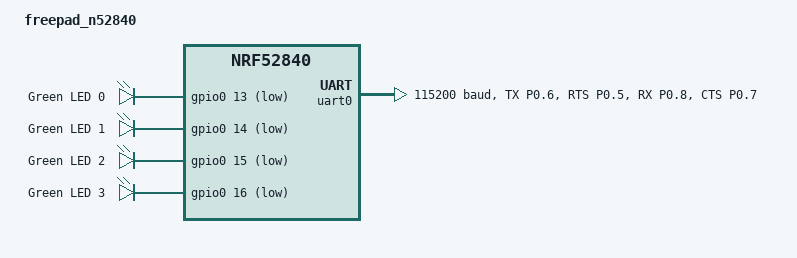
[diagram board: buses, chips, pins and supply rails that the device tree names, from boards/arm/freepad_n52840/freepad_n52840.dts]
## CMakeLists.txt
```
cmake_minimum_required(VERSION 3.20.0)
find_package(Zephyr REQUIRED HINTS $ENV{ZEPHYR_BASE})

project(freepad)
include(${ZEPHYR_BASE}/samples/subsys/usb/common/common.cmake)

FILE(GLOB app_sources src/*.c)
target_sources(app PRIVATE ${app_sources})
```

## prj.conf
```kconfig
CONFIG_CONSOLE_SUBSYS=y
CONFIG_CONSOLE_GETCHAR=y
CONFIG_CONSOLE_GETCHAR_BUFSIZE=64
CONFIG_CONSOLE_PUTCHAR_BUFSIZE=512

CONFIG_GPIO=y
CONFIG_SERIAL=y
CONFIG_CONSOLE=y
CONFIG_UART_CONSOLE=y


CONFIG_THREAD_NAME=y
CONFIG_THREAD_MAX_NAME_LEN=20

# use app patition
CONFIG_USE_DT_CODE_PARTITION=y
```

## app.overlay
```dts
// To get started, press Ctrl+Space to bring up the completion menu and view the available nodes.

// You can also use the buttons in the sidebar to perform actions on nodes.
// Actions currently available include:

// * Enabling / disabling the node
// * Adding the bus to a bus
// * Removing the node
// * Connecting ADC channels

// For more help, browse the DeviceTree documentation at https://docs.zephyrproject.org/latest/guides/dts/index.html
// You can also visit the nRF DeviceTree extension documentation at https://docs.nordicsemi.com/bundle/nrf-connect-vscode/page/guides/ncs_configure_app.html#devicetree-support-in-the-extension


&usbd {
	// status = "okay";
};

/{
    chosen{
		zephyr,console = &uart0;
        zephyr,code-partition = &app_partition;
    };
};
```

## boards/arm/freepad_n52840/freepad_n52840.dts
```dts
// Copyright (c) 2024 Nordic Semiconductor ASA
// SPDX-License-Identifier: Apache-2.0

/dts-v1/;
#include <nordic/nrf52840_qiaa.dtsi>

/ {
	model = "freepad_n52840";
	compatible = "lyj,freepad-n52840";

	chosen {
		zephyr,sram = &sram0;
		zephyr,flash = &flash0;
	};

	leds {
		compatible = "gpio-leds";
		led0: led_0 {
			gpios = <&gpio0 13 GPIO_ACTIVE_LOW>;
			label = "Green LED 0";
		};
		led1: led_1 {
			gpios = <&gpio0 14 GPIO_ACTIVE_LOW>;
			label = "Green LED 1";
		};
		led2: led_2 {
			gpios = <&gpio0 15 GPIO_ACTIVE_LOW>;
			label = "Green LED 2";
		};
		led3: led_3 {
			gpios = <&gpio0 16 GPIO_ACTIVE_LOW>;
			label = "Green LED 3";
		};
	};


	aliases {
		led0 = &led0;
	};
};


&flash0 {
	partitions {
		compatible = "fixed-partitions";
		#address-cells = <1>;
		#size-cells = <1>;

		boot_partition: partition@0 {
			label = "lboot";
			reg = <0x0 0x28000>;
		};
		app_partition: partition@28000 {
			label = "image-0";
			reg = <0x28000 0x4b000>;
		};
		storage_partition: partition@73000 {
			label = "storage";
			reg = <0x73000 0xD000>;
		};
	};
};

&gpio0 {
	status = "okay";
};

&gpiote {
	status = "okay";
};


&pinctrl {
	uart0_default: uart0_default {
		group1 {
			psels = <NRF_PSEL(UART_TX, 0, 6)>,
				<NRF_PSEL(UART_RTS, 0, 5)>;
		};
		group2 {
			psels = <NRF_PSEL(UART_RX, 0, 8)>,
				<NRF_PSEL(UART_CTS, 0, 7)>;
			bias-pull-up;
		};
	};

	uart0_sleep: uart0_sleep {
		group1 {
			psels = <NRF_PSEL(UART_TX, 0, 6)>,
				<NRF_PSEL(UART_RX, 0, 8)>,
				<NRF_PSEL(UART_RTS, 0, 5)>,
				<NRF_PSEL(UART_CTS, 0, 7)>;
			low-power-enable;
		};
	};
};

&uart0 {
	compatible = "nordic,nrf-uarte";
	status = "okay";
	current-speed = <115200>;
	pinctrl-0 = <&uart0_default>;
	pinctrl-1 = <&uart0_sleep>;
	pinctrl-names = "default", "sleep";
};
```

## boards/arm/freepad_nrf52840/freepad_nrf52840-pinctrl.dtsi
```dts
/*
 * Copyright (c) 2022 Nordic Semiconductor
 * SPDX-License-Identifier: Apache-2.0
 */

&pinctrl {
	uart0_default: uart0_default {
		group1 {
			psels = <NRF_PSEL(UART_TX, 1, 10)>,
					<NRF_PSEL(UART_RX, 1, 11)>;
		};
	};

	uart0_sleep: uart0_sleep {
		group1 {
			psels = <NRF_PSEL(UART_TX, 1, 10)>,
					<NRF_PSEL(UART_RX, 1, 11)>;
			low-power-enable;
		};
	};


	pwm0_default: pwm0_default {
		group1 {
			psels = <NRF_PSEL(PWM_OUT0, 0, 6)>;
			nordic,invert;
		};
	};

	pwm0_sleep: pwm0_sleep {
		group1 {
			psels = <NRF_PSEL(PWM_OUT0, 0, 6)>;
			low-power-enable;
		};
	};
};
```

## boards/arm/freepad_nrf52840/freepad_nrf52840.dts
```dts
/*
 * Copyright (c) 2022 Nikola Trifunovic
 * Copyright (c) 2018 Nordic Semiconductor ASA
 * Copyright (c) 2017 Linaro Limited
 *
 * SPDX-License-Identifier: Apache-2.0
 */

/dts-v1/;
#include <nordic/nrf52840_qiaa.dtsi>
#include "freepad_nrf52840-pinctrl.dtsi"

/ {
	model = "freepad nRF52840";
	compatible = "freepad_nrf52840";

	chosen {
		zephyr,console = &uart0;
		zephyr,shell-uart = &uart0;
		zephyr,uart-mcumgr = &uart0;
		zephyr,bt-mon-uart = &uart0;
		zephyr,bt-c2h-uart = &uart0;
		zephyr,sram = &sram0;
		zephyr,flash = &flash0;
		zephyr,code-partition = &slot0_partition;
		zephyr,ieee802154 = &ieee802154;
	};

	buttons {
		compatible = "gpio-keys";
		func_button {
			gpios = <&gpio1 6 (GPIO_PULL_UP | GPIO_ACTIVE_LOW)>;
			label = "dfu unpair button";
		};
	};

	pwmleds {
		compatible = "pwm-leds";
		pwm_led0: pwm_led_0 {
			pwms = <&pwm0 0 PWM_MSEC(20) PWM_POLARITY_INVERTED>;
		};
	};

	/* These aliases are provided for compatibility with samples */
	aliases {
		watchdog0 = &wdt0;
		pwm-led0 = &pwm_led0;
	};
};

&gpiote {
	status = "okay";
};

&gpio0 {
	status = "okay";
};

&gpio1 {
	status = "okay";
};

&uart0 {
	compatible = "nordic,nrf-uarte";
	status = "okay";
	current-speed = <115200>;
	pinctrl-0 = <&uart0_default>;
	pinctrl-1 = <&uart0_sleep>;
	pinctrl-names = "default", "sleep";
};

&pwm0 {
	status = "okay";
	pinctrl-0 = <&pwm0_default>;
	pinctrl-1 = <&pwm0_sleep>;
	pinctrl-names = "default", "sleep";
};

&ieee802154 {
	status = "okay";
};

/* Include flash partition table.
 * Two partition tables are available:
 * fstab-stock		-compatible with Nordic nRF5 bootloader, default
 * fstab-debugger	-to use an external debugger, w/o the nRF5 bootloader
 */
#include "fstab-stock.dts"

zephyr_udc0: &usbd {
	compatible = "nordic,nrf-usbd";
	status = "okay";
};
```

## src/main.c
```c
#include <zephyr/kernel.h>
#include <zephyr/drivers/gpio.h>


#define LED0_NODE DT_ALIAS(led0)
static const struct gpio_dt_spec led = GPIO_DT_SPEC_GET(LED0_NODE, gpios);

void blink(void)
{
	int ret;

	if (!gpio_is_ready_dt(&led))
	{
		return;
	}

	ret = gpio_pin_configure_dt(&led, GPIO_OUTPUT_ACTIVE);
	if (ret < 0)
	{
		return ;
	}

	while (1)
	{
		ret = gpio_pin_toggle_dt(&led);
		if (ret < 0)
		{
			return ;
		}

		k_msleep(200);
		printk("blink");
	}
	return ;
}


#define STACKSIZE 1024
K_THREAD_DEFINE(blink_id, STACKSIZE, blink, NULL, NULL, NULL,
				1, 0, 0);
```

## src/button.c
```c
#include "button.h"

#include <zephyr/kernel.h>
#include <zephyr/sys/printk.h>
#include "systime.h"

#include <zephyr/types.h>
#include <stddef.h>
#include <string.h>
#include <errno.h>

#include <zephyr/device.h>
#include <zephyr/drivers/gpio.h>

typedef struct
{
    ButtonStatus_t status;
    uint32_t downTime;
    uint32_t upTime;
} ButtonContext_t;

static const struct gpio_dt_spec buttons[ButtonEnum_Max] = {
    [ButtonEnum_Func] = GPIO_DT_SPEC_GET_OR(DT_PATH(buttons, func_button), gpios, {0}),
};

static ButtonContext_t buttonContext[ButtonEnum_Max];

void Button_Init(void)
{
    for (int i = 0; i < ButtonEnum_Max; i++)
    {
        if (!gpio_is_ready_dt(&buttons[i]))
        {
            printk("Error: button device %s is not ready\n",
                   buttons[i].port->name);
            return;
        }

        int ret = gpio_pin_configure_dt(&buttons[i], GPIO_INPUT);
        if (ret != 0)
        {
            printk("Error %d: failed to configure %s pin %d\n",
                   ret, buttons[i].port->name, buttons[i].pin);
            return;
        }
    }

    memset(buttonContext, 0, sizeof(buttonContext));
}

void Button_Check(uint32_t interval)
{
    for (int i = 0; i < ButtonEnum_Max; i++)
    {
        if (!gpio_pin_get_dt(&buttons[i]))
        {
            buttonContext[i].upTime += interval;
            buttonContext[i].downTime = 0;

            if (buttonContext[i].upTime >= 20)
            {
                // if (buttonContext[i].status == ButtonSta_Press)
                //     printk("button: %d release\r\n", i);

                buttonContext[i].status = ButtonSta_Realse;
            }
            // printk("button: %d high\r\n", i);
        }
        else
        {
            buttonContext[i].upTime = 0;
            buttonContext[i].downTime += interval;

            if (buttonContext[i].downTime >= 20)
            {
                // if (buttonContext[i].status == ButtonSta_Realse)
                //     printk("button: %d press\r\n", i);
                    
                buttonContext[i].status = ButtonSta_Press;
            }
            // printk("button: %d low\r\n", i);
        }
    }
}

ButtonStatus_t Button_GetStatus(ButtonEnum_t btn)
{
    return buttonContext[btn].status;
}
```

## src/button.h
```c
#pragma once

#include "stdint.h"
typedef enum
{
    ButtonSta_Realse = 0,
    ButtonSta_Press,
} ButtonStatus_t;

typedef enum
{
    ButtonEnum_Func = 0,
    ButtonEnum_Max,
}  ButtonEnum_t;

void Button_Init(void);
void Button_Check(uint32_t interval);

ButtonStatus_t Button_GetStatus(ButtonEnum_t btn);
```

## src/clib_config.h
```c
#pragma once

#include "cl_common.h"
#include "stdio.h"

#ifdef __cplusplus
extern "C" {
#endif

//-------------event type------------------
typedef enum
{
    CL_Event_0,
    CL_EventMax,
} CL_Event_t;

//---------------log-------------------------
#include "stdio.h"
// #define USE_LDB_LOG
#define CL_PRINTF   printf

#ifdef __cplusplus
}
#endif
```

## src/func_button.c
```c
#include "func_button.h"
#include "button.h"
#include "systime.h"
#include <zephyr/sys/reboot.h>
#include "ble_agent.h"

extern void MainSetTask(uint8_t c);

static ButtonStatus_t funcBtnSta = ButtonSta_Realse;
static uint32_t staKeepTime = 0;

void FuncButton_Init(void)
{
}

void FuncButton_Update(uint32_t interval)
{
    ButtonStatus_t curSta = Button_GetStatus(ButtonEnum_Func);
    if (curSta != funcBtnSta)
    {
        if (funcBtnSta == ButtonSta_Realse)
        { // button down
        }
        else if (funcBtnSta == ButtonSta_Press)
        { // button up
            if (staKeepTime < SYSTIME_SECOND(5))
                MainSetTask('u');
        }
        staKeepTime = 0;
        funcBtnSta = curSta;
    }
    else
    {

        if (funcBtnSta == ButtonSta_Press)
        {
            if (staKeepTime < SYSTIME_SECOND(5) && (staKeepTime + interval >= SYSTIME_SECOND(5)))
            {
                MainSetTask('r');
            }
        }
        staKeepTime += interval;
    }
}
```

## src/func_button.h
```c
#pragma once

#include "stdint.h"

void FuncButton_Init(void);
void FuncButton_Update(uint32_t interval);
```

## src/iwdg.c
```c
#include <zephyr/kernel.h>
#include <zephyr/device.h>
#include <zephyr/drivers/watchdog.h>
#include <zephyr/sys/printk.h>
#include <stdbool.h>
#include "systime.h"

volatile static bool initialized = false;

static bool feed = true;
static int wdt_channel_id;
const static struct device *const wdt = DEVICE_DT_GET(DT_ALIAS(watchdog0));
void IwdgInit(void)
{
    int err;
    if (!device_is_ready(wdt))
    {
        printk("%s: device not ready.\n", wdt->name);
        return;
    }

    struct wdt_timeout_cfg wdt_config = {
        /* Reset SoC when watchdog timer expires. */
        .flags = WDT_FLAG_RESET_SOC,

        /* Expire watchdog after max window */
        .window.min = 0,
        .window.max = 3500,
        .callback = NULL,
    };

    wdt_channel_id = wdt_install_timeout(wdt, &wdt_config);
    if (wdt_channel_id < 0)
    {
        printk("Watchdog install error\n");
        return;
    }

    err = wdt_setup(wdt, WDT_OPT_PAUSE_HALTED_BY_DBG);
    if (err < 0)
    {
        printk("Watchdog setup error\n");
        return;
    }

    initialized = true;
}

void IwdgProcess(void)
{
    if (!initialized)
        return;

    static uint32_t lastTime = 0;
    if (SysTimeSpan(lastTime) >= 1000)
    {
        lastTime = GetSysTime();
        if (feed)
        {
            // printk("iwdg feed\r\n");
            wdt_feed(wdt, wdt_channel_id);
        }
    }
}

void IwdgDontFeed(void)
{
    feed = false;
}

void IwdgForceFeed(void)
{
    if (!initialized)
        return;

    wdt_feed(wdt, wdt_channel_id);
}
```

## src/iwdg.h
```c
#pragma once

#include "stdint.h"

void IwdgInit(void);
void IwdgProcess(void);

void IwdgDontFeed(void);
void IwdgForceFeed(void);
```

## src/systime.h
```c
#pragma once

#include "stdint.h"
#include <zephyr/kernel.h>

//rt_tick_get

#define SYSTIME_SECOND(s) (s * 1000UL) 

// extern volatile uint32_t g_sysTime;

// static inline void SysTimeInc(uint32_t inc)
// {
//     g_sysTime += inc;
// }

static inline uint32_t SysTimeSpan(uint32_t base)
{
    uint32_t sysTime = k_uptime_get_32();

    if (sysTime >= base)
        return sysTime - base;
    else
        return UINT32_MAX - base + sysTime + 1;
}

static inline uint32_t GetSysTime(void)
{
    return k_uptime_get_32();
}
```

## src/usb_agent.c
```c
#include "usb_agent.h"

#include <sample_usbd.h>

#include <stdio.h>
#include <string.h>
#include <zephyr/device.h>
#include <zephyr/drivers/uart.h>
#include <zephyr/kernel.h>

#include <zephyr/sys/ring_buffer.h>

#include <zephyr/usb/usb_device.h>
#include <zephyr/usb/usbd.h>
#include <zephyr/logging/log.h>
#include <zephyr/init.h>

typedef struct
{
    bool init;
} UsbAgentContext_t;

volatile static UsbAgentContext_t context = {
    .init = false,
};

LOG_MODULE_REGISTER(cdc_acm_echo, LOG_LEVEL_INF);

const struct device *const uart_dev = DEVICE_DT_GET_ONE(zephyr_cdc_acm_uart);

static uint8_t recvBuffer[1024];
static uint8_t sendBuffer[1024];

static struct ring_buf recvRingBuffer;
static struct ring_buf sendRingBuffer;

static void interrupt_handler(const struct device *dev, void *user_data)
{ // thread usbworkq; k_is_in_isr()->false  线程优先级-1,协作式,近似ISR,
    ARG_UNUSED(user_data);

    while (uart_irq_update(dev) && uart_irq_is_pending(dev))
    {
        if (uart_irq_rx_ready(dev))
        { // 接受中断
            int recv_len;
            uint8_t buffer[64];
            size_t len = MIN(ring_buf_space_get(&recvRingBuffer),
                             sizeof(buffer));

            if (len == 0)
            {
                /* Throttle because ring buffer is full */
                uart_irq_rx_disable(dev);
                break;
            }

            recv_len = uart_fifo_read(dev, buffer, len);
            if (recv_len > 0)
            {
                ring_buf_put(&recvRingBuffer, buffer, recv_len);
            };
        }

        if (uart_irq_tx_ready(dev))
        { // 发送中断
            static uint8_t sb[64];
            static int rb_len = 0, send_len = 0;

            rb_len = ring_buf_get(&sendRingBuffer, sb, sizeof(sb));
            memcpy(sb, "12345", 5);
            if (rb_len)
            {
                send_len = uart_fifo_fill(dev, sb, 5);
            }
            else
            {
                uart_irq_tx_disable(dev);
                break;
            }
        }
    }
}

uint32_t SendData(const uint8_t *data, uint32_t len)
{
    if (!context.init)
        return 0;
    uint32_t sendLen = ring_buf_put(&sendRingBuffer, data, len);

    uart_irq_tx_enable(uart_dev);
    return sendLen;
}

uint32_t RecvData(uint8_t *buffer, uint32_t len)
{
    if (!context.init)
        return 0;

    uint32_t readLen;

    readLen = ring_buf_get(&recvRingBuffer, buffer, len);

    if (readLen)
    {
        uart_irq_rx_enable(uart_dev);
    }
    return readLen;
}

int UsbAgent_Init(void)
{
    int ret;
    if (!device_is_ready(uart_dev))
    {
        LOG_ERR("CDC ACM device not ready");
        return 0;
    }

    ret = usb_enable(NULL);

    if (ret != 0)
    {
        LOG_ERR("Failed to enable USB");
        return 0;
    }

    ring_buf_init(&recvRingBuffer, sizeof(recvBuffer), recvBuffer);
    ring_buf_init(&sendRingBuffer, sizeof(sendBuffer), sendBuffer);

    LOG_INF("Wait for DTR");

    // while (true)
    // {
    //     uint32_t dtr = 0U;

    //     uart_line_ctrl_get(uart_dev, UART_LINE_CTRL_DTR, &dtr);
    //     if (dtr)
    //     {
    //         break;
    //     }
    //     else
    //     {
    //         /* Give CPU resources to low priority threads. */
    //         k_sleep(K_MSEC(100));
    //     }
    // }

    LOG_INF("DTR set");

    /* They are optional, we use them to test the interrupt endpoint */
    ret = uart_line_ctrl_set(uart_dev, UART_LINE_CTRL_DCD, 1);
    if (ret)
    {
        LOG_WRN("Failed to set DCD, ret code %d", ret);
    }

    ret = uart_line_ctrl_set(uart_dev, UART_LINE_CTRL_DSR, 1);
    if (ret)
    {
        LOG_WRN("Failed to set DSR, ret code %d", ret);
    }

    /* Wait 100ms for the host to do all settings */
    k_msleep(100);

    uart_irq_callback_set(uart_dev, interrupt_handler);

    /* Enable rx interrupts */
    uart_irq_rx_enable(uart_dev);

    context.init = true;
    return 0;
}

SYS_INIT(UsbAgent_Init, APPLICATION, 10);
```

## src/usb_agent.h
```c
#pragma once

#include "stdint.h"

int UsbAgent_Init(void);
uint32_t SendData(const uint8_t *data, uint32_t len);
uint32_t RecvData(uint8_t *buffer, uint32_t len);
```

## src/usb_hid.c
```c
#include "usb_hid.h"

#include <zephyr/kernel.h>
#include <zephyr/init.h>

#include <zephyr/usb/usb_device.h>
#include <zephyr/usb/class/usb_hid.h>

#define LOG_LEVEL LOG_LEVEL_INF
LOG_MODULE_REGISTER(usb_hid_pad);

static bool configured;
static const struct device *hdev;
static struct k_work report_send;
static ATOMIC_DEFINE(hid_ep_in_busy, 1);

#define HID_EP_BUSY_FLAG 0
#define REPORT_ID_1 0x01
#define REPORT_PERIOD K_SECONDS(2)

static struct report
{
    uint8_t id;
    uint8_t value;
} __packed report_1 = {
    .id = REPORT_ID_1,
    .value = 0,
};

static void report_event_handler(struct k_timer *dummy);
static K_TIMER_DEFINE(event_timer, report_event_handler, NULL);

static const uint8_t hid_report_desc[] = {
    HID_USAGE_PAGE(HID_USAGE_GEN_DESKTOP),
    HID_USAGE(HID_USAGE_GEN_DESKTOP_UNDEFINED),
    HID_COLLECTION(HID_COLLECTION_APPLICATION),
    HID_LOGICAL_MIN8(0x00),
    HID_LOGICAL_MAX16(0xFF, 0x00),
    HID_REPORT_ID(REPORT_ID_1),
    HID_REPORT_SIZE(8),
    HID_REPORT_COUNT(1),
    HID_USAGE(HID_USAGE_GEN_DESKTOP_UNDEFINED),
    HID_INPUT(0x02),
    HID_END_COLLECTION,
};

static void send_report(struct k_work *work)
{
    int ret, wrote;

    if (!atomic_test_and_set_bit(hid_ep_in_busy, HID_EP_BUSY_FLAG))
    {
        ret = hid_int_ep_write(hdev, (uint8_t *)&report_1,
                               sizeof(report_1), &wrote);
        if (ret != 0)
        {
            /*
             * Do nothing and wait until host has reset the device
             * and hid_ep_in_busy is cleared.
             */
            LOG_ERR("Failed to submit report");
        }
        else
        {
            LOG_DBG("Report submitted");
        }
    }
    else
    {
        LOG_DBG("HID IN endpoint busy");
    }
}

static void int_in_ready_cb(const struct device *dev)
{
    ARG_UNUSED(dev);
    if (!atomic_test_and_clear_bit(hid_ep_in_busy, HID_EP_BUSY_FLAG))
    {
        LOG_WRN("IN endpoint callback without preceding buffer write");
    }
}

static void on_idle_cb(const struct device *dev, uint16_t report_id)
{
    LOG_DBG("On idle callback");
    k_work_submit(&report_send);
}

static void report_event_handler(struct k_timer *dummy)
{
    /* Increment reported data */
    report_1.value++;
    k_work_submit(&report_send);
}

static void protocol_cb(const struct device *dev, uint8_t protocol)
{
    LOG_INF("New protocol: %s", protocol == HID_PROTOCOL_BOOT ? "boot" : "report");
}

static const struct hid_ops ops = {
    .int_in_ready = int_in_ready_cb,
    .on_idle = on_idle_cb,
    .protocol_change = protocol_cb,
};

static void status_cb(enum usb_dc_status_code status, const uint8_t *param)
{
    switch (status)
    {
    case USB_DC_RESET:
        configured = false;
        break;
    case USB_DC_CONFIGURED:
        if (!configured)
        {
            int_in_ready_cb(hdev);
            configured = true;
        }
        break;
    case USB_DC_SOF:
        break;
    default:
        LOG_DBG("status %u unhandled", status);
        break;
    }
}

void UsbHid_Init(void)
{
    int ret;

    LOG_INF("Starting application");

    ret = usb_enable(status_cb);
    if (ret != 0)
    {
        LOG_ERR("Failed to enable USB");
        return;
    }

    k_work_init(&report_send, send_report);
}

static int composite_pre_init(const struct device *dev)
{
    hdev = device_get_binding("HID_0");
    if (hdev == NULL)
    {
        LOG_ERR("Cannot get USB HID Device");
        return -ENODEV;
    }

    LOG_INF("HID Device: dev %p", hdev);

    usb_hid_register_device(hdev, hid_report_desc, sizeof(hid_report_desc),
                            &ops);

    atomic_set_bit(hid_ep_in_busy, HID_EP_BUSY_FLAG);
    k_timer_start(&event_timer, REPORT_PERIOD, REPORT_PERIOD);

    if (usb_hid_set_proto_code(hdev, HID_BOOT_IFACE_CODE_NONE))
    {
        LOG_WRN("Failed to set Protocol Code");
    }

    return usb_hid_init(hdev);
}

SYS_INIT(composite_pre_init, APPLICATION, CONFIG_KERNEL_INIT_PRIORITY_DEVICE);
```

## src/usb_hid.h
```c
#pragma once

void UsbHid_Init(void);
```
